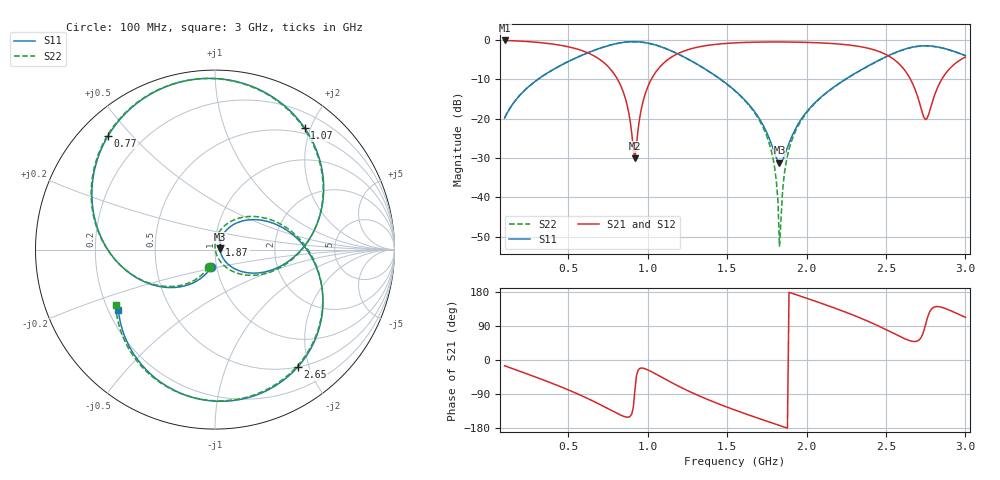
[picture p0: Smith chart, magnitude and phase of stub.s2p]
! Touchstone file from project ressonador
! Exported from HFSS 13.0.0
! Variables:
!  Hcobre = 0.017mm
!  Hsubstrato = 1.57mm
!  Lressonador = 43.6mm
!  Lsubstrato = 100mm
!  Wcobre = 3.06mm
!  Wsubstrato = 43.6mm
!  c = 300000000meter
!  d = 30mm
!  diference = 0.1mm
!  er = 4.3
!  fre = 950000000
!  lambda = 0.152287207001183meter
!  v = 144672846.651124meter
# GHZ S MA R 50.000000
! Modal data exported
! Port[1] = 1:1
! Port[2] = 2:1
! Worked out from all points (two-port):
!   291 points, 100 MHz to 3 GHz, reference 50 ohm
!   highest |S21| = -0.08 dB at 100 MHz (marker M1); lowest = -30.1 dB at 920 MHz (marker M2)
!   |S21| within 3 dB of the highest: start of sweep to 614.4 MHz; 1.209 GHz to 2.469 GHz (1.259 GHz wide, 68.5 % of centre)
!   lowest |S11| = -31.2 dB at 1.83 GHz (marker M3), VSWR 1.06, Z = 52.8 + j0.132 ohm
!   |S11| at or under -10 dB: start of sweep to 308.9 MHz; 1.461 GHz to 2.243 GHz (782.6 MHz wide, 42.3 % of centre)
!   |S22| runs from -52.4 to -0.4 dB; largest |S21 - S12| = 5.1e-11
!   S11 on the Smith chart (normalised r, x): 100 MHz: 0.94, -0.19; 770 MHz: 0.08, +0.43; 1.07 GHz: 0.41, +1.91; 1.87 GHz: 1.05, +0.06; 2.65 GHz: 0.50, -1.82; 3 GHz: 0.24, -0.27
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0.1  0.1022 -102.9  0.9906 -15.1  0.9906 -15.1  0.1024 -110.5
! Gamma ! 0.0508822001469853 3.78672125758883 0.051869936293545 3.79001194892458
! Port Impedance 50 0 50 0
0.37  0.3824 -148.1  0.9084 -56.8  0.9084 -56.8  0.3828 -149.0
0.59  0.6466 172.6  0.7323 -95.2  0.7323 -95.2  0.647 173.0
0.77  0.8704 133.1  0.4189 -132.7  0.4189 -132.7  0.8708 134.0
0.86  0.9427 110.0  0.1812 -150.1  0.1812 -150.1  0.9429 111.0
0.92  0.9554 93.7  0.03126 -79.7  0.03126 -79.7  0.9555 94.7
0.97  0.9389 80.0  0.1619 -21.4  0.1619 -21.4  0.9389 81.0
1.07  0.8421 53.6  0.4389 -41.2  0.4389 -41.2  0.8418 54.4
1.3  0.51 3.8  0.8018 -90.2  0.8018 -90.2  0.5088 3.4
1.55  0.2278 -34.7  0.9232 -132.1  0.9232 -132.1  0.2254 -39.1
1.77  0.05346 -43.2  0.9476 -164.3  0.9476 -164.3  0.04536 -70.5
1.81  0.03209 -21.1  0.948 -170.0  0.948 -170.0  0.01627 -72.9
1.83  0.0275 2.6  0.9478 -172.8  0.9478 -172.8  0.002392 -41.6
1.85  0.0299 28.2  0.9474 -175.6  0.9474 -175.6  0.0125 88.9
1.87  0.0379 45.4  0.9467 -178.4  0.9467 -178.4  0.02662 89.7
2.04  0.1504 56.7  0.9309 157.4  0.9309 157.4  0.1478 67.2
2.31  0.3824 20.2  0.8442 115.8  0.8442 115.8  0.3801 23.3
2.52  0.6414 -21.1  0.6236 76.2  0.6236 76.2  0.6383 -20.6
2.65  0.8002 -54.8  0.3293 51.0  0.3293 51.0  0.7968 -55.4
2.75  0.8473 -83.8  0.09738 94.5  0.09738 94.5  0.8441 -85.3
2.86  0.7902 -114.7  0.3391 138.0  0.3391 138.0  0.7876 -116.9
3  0.6361 -147.8  0.6091 112.6  0.6091 112.6  0.6343 -150.7
